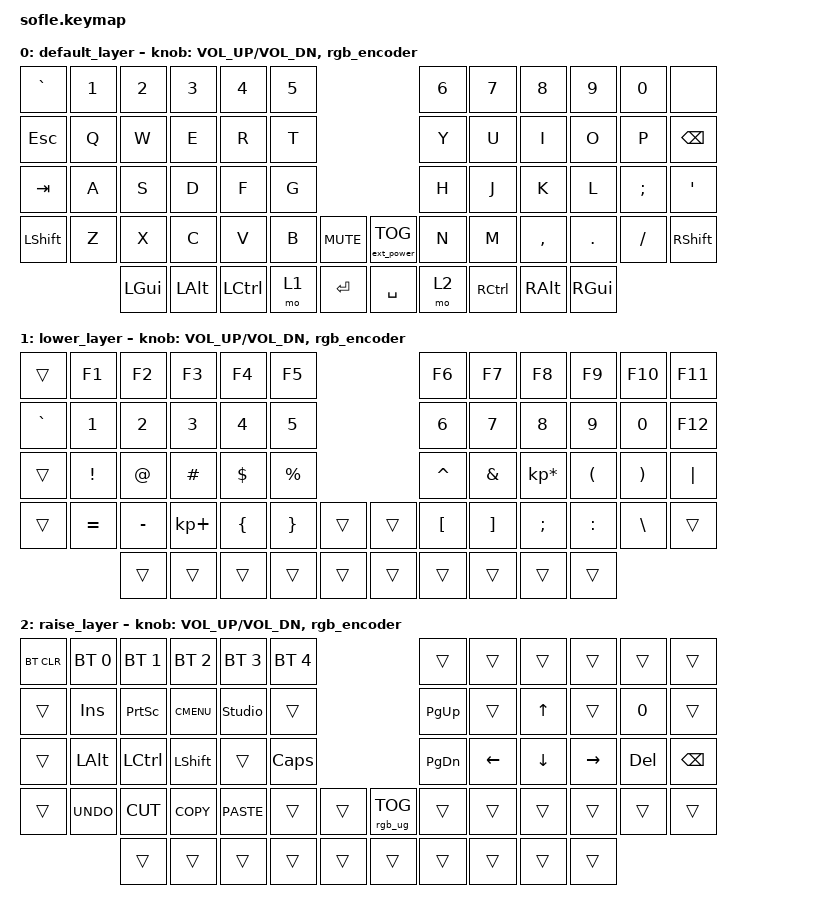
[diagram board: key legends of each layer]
/*
 * Copyright (c) 2020 The ZMK Contributors
 *
 * SPDX-License-Identifier: MIT
 */

#include <behaviors.dtsi>
#include <dt-bindings/zmk/keys.h>
#include <dt-bindings/zmk/bt.h>
#include <dt-bindings/zmk/ext_power.h>
#include <dt-bindings/zmk/rgb.h>

/*
 * Temporarily here because nice nano v2 spi is not defined on ZMK Yet
 * Source: https://github.com/zmkfirmware/zmk/blob/main/app/boards/shields/reviung41/boards/nice_nano.overlay
 * GitHub Issue: https://github.com/zmkfirmware/zmk/issues/885
 */

#include <dt-bindings/led/led.h>

&pinctrl {
    spi3_default: spi3_default {
        group1 {
            psels = <NRF_PSEL(SPIM_MOSI, 0, 8)>;
        };
    };

    spi3_sleep: spi3_sleep {
        group1 {
            psels = <NRF_PSEL(SPIM_MOSI, 0, 8)>;
            low-power-enable;
        };
    };
};

&spi3 {
    compatible = "nordic,nrf-spim";
    status = "okay";

    pinctrl-0 = <&spi3_default>;
    pinctrl-1 = <&spi3_sleep>;
    pinctrl-names = "default", "sleep";

    led_strip: ws2812@0 {
        compatible = "worldsemi,ws2812-spi";
        label = "WS2812";

        /* SPI */
        reg = <0>; /* ignored, but necessary for SPI bindings */
        spi-max-frequency = <4000000>;

        /* WS2812 */
        chain-length = <30>;
        spi-one-frame = <0x70>;
        spi-zero-frame = <0x40>;

        color-mapping = <LED_COLOR_ID_GREEN LED_COLOR_ID_RED LED_COLOR_ID_BLUE>;
    };
};

/ {
    chosen {
        zmk,underglow = &led_strip;
    };
};

/* END temporary RGB support section */




/ {
    macros {
        pswd: pswd {
            compatible = "zmk,behavior-macro";
            #binding-cells = <0>;
            display-name = "pswd";
            wait-ms = <40>;
            tap-ms = <40>;

            bindings = <
                &kp P &kp O &kp L &kp O &kp P
                &kp RET
            >;
        };

        macos_power: macos_power {
            compatible = "zmk,behavior-macro";
            #binding-cells = <0>;
            display-name = "macOS Power";
            wait-ms = <40>;
            tap-ms = <40>;

            bindings
                = <&macro_press &kp LCTRL &kp LALT &kp LGUI>
                , <&macro_tap &kp C_EJECT>
                , <&macro_release &kp LCTRL &kp LALT &kp LGUI>
                ;
        };

        macos_sleep: macos_sleep {
            compatible = "zmk,behavior-macro";
            #binding-cells = <0>;
            display-name = "macOS sleep";
            wait-ms = <40>;
            tap-ms = <40>;

            bindings
                = <&macro_press &kp LALT &kp LGUI>
                , <&macro_tap &kp C_EJECT>
                , <&macro_release &kp LALT &kp LGUI>
                ;
        };
    };
};






/ {
    behaviors {
        rgb_encoder: rgb_encoder {
            compatible = "zmk,behavior-sensor-rotate";
            #sensor-binding-cells = <0>;
            bindings = <&rgb_ug RGB_BRI>, <&rgb_ug RGB_HUI>;
        };
    };

    keymap {
        compatible = "zmk,keymap";

        default_layer {
// ------------------------------------------------------------------------------------------------------------------
// |  `    |  1  |  2  |  3   |  4   |  5   |                         |  6   |  7    |  8    |  9   |   0   |       |
// |  ESC  |  Q  |  W  |  E   |  R   |  T   |                         |  Y   |  U    |  I    |  O   |   P   | BKSPC |
// |  TAB  |  A  |  S  |  D   |  F   |  G   |                         |  H   |  J    |  K    |  L   |   ;   |   '   |
// | SHIFT |  Z  |  X  |  C   |  V   |  B   |  MUTE  |        | ExtPw |  N   |  M    |  ,    |  .   |   /   | SHIFT |
//               | GUI | ALT  | CTRL | LOWER|  ENTER |        | SPACE | RAISE| CTRL  | ALT   | GUI  |
            bindings = <
&kp GRAVE &kp N1 &kp N2   &kp N3   &kp N4    &kp N5                              &kp N6 &kp N7    &kp N8    &kp N9   &kp N0   &none
&kp ESC   &kp Q  &kp W    &kp E    &kp R     &kp T                               &kp Y  &kp U     &kp I     &kp O    &kp P    &kp BSPC
&kp TAB   &kp A  &kp S    &kp D    &kp F     &kp G                               &kp H  &kp J     &kp K     &kp L    &kp SEMI &kp SQT
&kp LSHFT &kp Z  &kp X    &kp C    &kp V     &kp B  &kp C_MUTE &ext_power EP_TOG &kp N  &kp M     &kp COMMA &kp DOT  &kp FSLH &kp RSHFT
                 &kp LGUI &kp LALT &kp LCTRL &mo 1  &kp RET    &kp SPACE         &mo 2  &kp RCTRL &kp RALT  &kp RGUI
            >;

            sensor-bindings = <&inc_dec_kp C_VOL_UP C_VOL_DN &rgb_encoder>;
        };

        lower_layer {
// TODO: Some binds are waiting for shifted keycode support.
// ------------------------------------------------------------------------------------------------------------
// |       |  F1 |  F2 |  F3  |  F4  |  F5  |                   |  F6  |  F7   |  F8   |  F9  |  F10  |  F11  |
// | `     |   1 |   2 |   3  |   4  |   5  |                   |   6  |   7   |   8   |   9  |    0  |  F12  |
// |       |  !  |  @  |  #   |  $   |  %   |                   |  ^   |  &    |  *    |  (   |   )   |   |   |
// |       |  =  |  -  |  +   |  {   |  }   |        |  |       |  [   |  ]    |  ;    |  :   |   \   |       |
//               |     |      |      |      |        |  |       |      |       |       |      |
            bindings = <
&trans    &kp F1    &kp F2    &kp F3      &kp F4    &kp F5                    &kp F6    &kp F7   &kp F8          &kp F9    &kp F10   &kp F11
&kp GRAVE &kp N1    &kp N2    &kp N3      &kp N4    &kp N5                    &kp N6    &kp N7   &kp N8          &kp N9    &kp N0    &kp F12
&trans    &kp EXCL  &kp AT    &kp HASH    &kp DLLR  &kp PRCNT                 &kp CARET &kp AMPS &kp KP_MULTIPLY &kp LPAR  &kp RPAR  &kp PIPE
&trans    &kp EQUAL &kp MINUS &kp KP_PLUS &kp LBRC  &kp RBRC  &trans   &trans &kp LBKT  &kp RBKT &kp SEMI        &kp COLON &kp BSLH  &trans
                    &trans    &trans      &trans    &trans    &trans   &trans &trans    &trans   &trans          &trans
            >;

            sensor-bindings = <&inc_dec_kp C_VOL_UP C_VOL_DN &rgb_encoder>;
        };

        raise_layer {
// ------------------------------------------------------------------------------------------------------------
// |BTCLR| BT1  | BT2  |  BT3  |  BT4  |  BT5 |                 |      |      |       |      |       |       |
// |     | INS  | PSCR | GUI   |       |      |                 | PGUP |      |   ^   |      |       |       |
// |     | ALT  | CTRL | SHIFT |       | CAPS |                 | PGDN |   <- |   v   |  ->  |  DEL  | BKSPC |
// |     | UNDO | CUT  | COPY  | PASTE |      |      |   | RGB  |      |      |       |      |       |       |
//              |      |       |       |      |      |   |      |      |      |       |      |
            bindings = <
&bt BT_CLR &bt BT_SEL 0 &bt BT_SEL 1 &bt BT_SEL 2 &bt BT_SEL 3 &bt BT_SEL 4                      &trans    &trans    &trans   &trans    &trans  &trans
&trans     &kp INS      &kp PSCRN    &kp K_CMENU  &studio_unlock       &trans                            &kp PG_UP &trans    &kp UP   &trans    &kp N0  &trans
&trans     &kp LALT     &kp LCTRL    &kp LSHFT    &trans       &kp CLCK                          &kp PG_DN &kp LEFT  &kp DOWN &kp RIGHT &kp DEL &kp BSPC
&trans     &kp K_UNDO   &kp K_CUT    &kp K_COPY   &kp K_PASTE  &trans  &trans   &rgb_ug RGB_TOG  &trans    &trans    &trans   &trans    &trans  &trans
                        &trans       &trans       &trans       &trans  &trans   &trans           &trans    &trans    &trans   &trans
            >;

            sensor-bindings = <&inc_dec_kp C_VOL_UP C_VOL_DN &rgb_encoder>;
        };
    };
};
